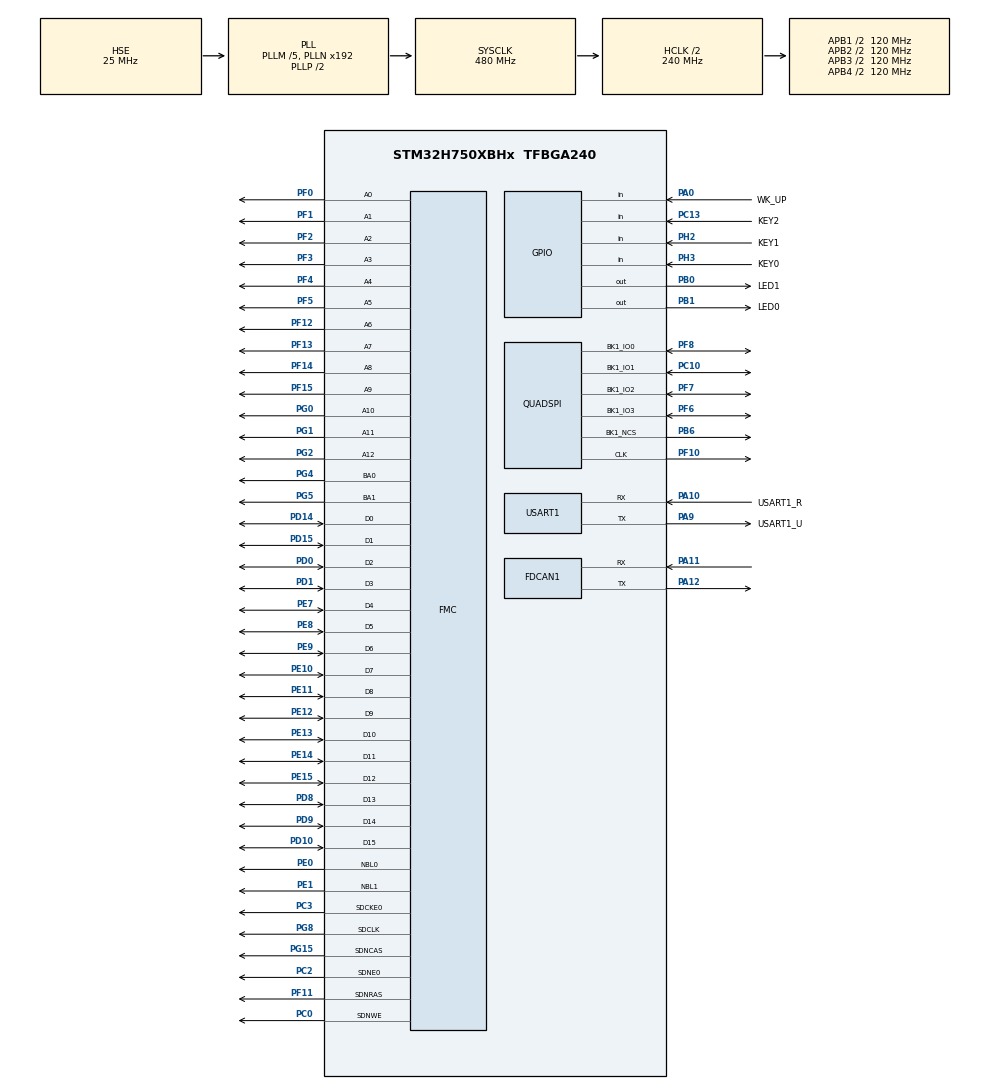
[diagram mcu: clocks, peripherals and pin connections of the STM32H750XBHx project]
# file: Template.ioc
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CORTEX_M7.CPU_DCache=Enabled
CORTEX_M7.CPU_ICache=Enabled
CORTEX_M7.default_mode_Activation=1
Dma.Request0=USART1_RX
Dma.USART1_RX.0.Direction=DMA_PERIPH_TO_MEMORY
Dma.USART1_RX.0.EventEnable=DISABLE
Dma.USART1_RX.0.FIFOMode=DMA_FIFOMODE_DISABLE
Dma.USART1_RX.0.Instance=DMA1_Stream0
Dma.USART1_RX.0.MemDataAlignment=DMA_MDATAALIGN_BYTE
Dma.USART1_RX.0.MemInc=DMA_MINC_ENABLE
Dma.USART1_RX.0.Mode=DMA_NORMAL
Dma.USART1_RX.0.PeriphDataAlignment=DMA_PDATAALIGN_BYTE
Dma.USART1_RX.0.PeriphInc=DMA_PINC_DISABLE
Dma.USART1_RX.0.Polarity=HAL_DMAMUX_REQ_GEN_RISING
Dma.USART1_RX.0.Priority=DMA_PRIORITY_LOW
Dma.USART1_RX.0.RequestNumber=1
Dma.USART1_RX.0.SignalID=NONE
Dma.USART1_RX.0.SyncEnable=DISABLE
Dma.USART1_RX.0.SyncPolarity=HAL_DMAMUX_SYNC_NO_EVENT
Dma.USART1_RX.0.SyncRequestNumber=1
Dma.USART1_RX.0.SyncSignalID=NONE
FDCAN1.AutoRetransmission=ENABLE
FDCAN1.CalculateBaudRateNominal=500000
FDCAN1.CalculateTimeBitNominal=2000
FDCAN1.CalculateTimeQuantumNominal=40.0
FDCAN1.DataPrescaler=1
FDCAN1.DataSyncJumpWidth=16
FDCAN1.DataTimeSeg1=31
FDCAN1.DataTimeSeg2=3
FDCAN1.ExtFiltersNbr=16
FDCAN1.NominalPrescaler=1
FDCAN1.NominalTimeSeg1=31
FDCAN1.NominalTimeSeg2=18
FDCAN1.RxBuffersNbr=8
FDCAN1.RxFifo0ElmtsNbr=32
FDCAN1.RxFifo1ElmtsNbr=32
FDCAN1.StdFiltersNbr=62
FDCAN1.TxFifoQueueElmtsNbr=32
FMC.CASLatency1=FMC_SDRAM_CAS_LATENCY_2
FMC.ColumnBitsNumber1=FMC_SDRAM_COLUMN_BITS_NUM_9
FMC.ExitSelfRefreshDelay1=9
FMC.LoadToActiveDelay1=2
FMC.RCDDelay1=2
FMC.RPDelay1=2
FMC.RPDelay2=2
FMC.ReadBurst1=FMC_SDRAM_RBURST_ENABLE
FMC.ReadBurst2=FMC_SDRAM_RBURST_ENABLE
FMC.ReadPipeDelay1=FMC_SDRAM_RPIPE_DELAY_0
FMC.RowCycleDelay1=8
FMC.RowCycleDelay2=8
FMC.SDClockPeriod1=FMC_SDRAM_CLOCK_PERIOD_2
FMC.SDClockPeriod2=FMC_SDRAM_CLOCK_PERIOD_2
FMC.SelfRefreshTime1=6
FMC.WriteRecoveryTime1=5
Mcu.Family=STM32H7
Mcu.Name=STM32H750XBHx
Mcu.Package=TFBGA240
NVIC.DMA1_Stream0_IRQn=true\:5\:0\:true\:false\:true\:false\:true\:true
NVIC.FDCAN1_IT0_IRQn=true\:5\:0\:true\:false\:true\:true\:true\:true
NVIC.FDCAN1_IT1_IRQn=true\:5\:0\:true\:false\:true\:true\:true\:true
NVIC.FDCAN_CAL_IRQn=true\:5\:0\:true\:false\:true\:true\:true\:true
NVIC.PriorityGroup=NVIC_PRIORITYGROUP_4
NVIC.TIM6_DAC_IRQn=true\:15\:0\:false\:false\:true\:false\:true\:true
NVIC.TimeBase=TIM6_DAC_IRQn
NVIC.TimeBaseIP=TIM6
NVIC.USART1_IRQn=true\:5\:0\:true\:false\:true\:true\:true\:true
PA0.GPIO_Label=WK_UP
PA0.GPIO_PuPd=GPIO_PULLDOWN
PA0.Signal=GPIO_Input
PA10.GPIO_Label=USART1_R
PA10.GPIO_PuPd=GPIO_PULLUP
PA10.Mode=Asynchronous
PA10.Signal=USART1_RX
PA11.GPIO_PuPd=GPIO_PULLUP
PA11.GPIO_Speed=GPIO_SPEED_FREQ_VERY_HIGH
PA11.Mode=FDCAN_Activate
PA11.Signal=FDCAN1_RX
PA12.GPIO_PuPd=GPIO_PULLUP
PA12.GPIO_Speed=GPIO_SPEED_FREQ_VERY_HIGH
PA12.Mode=FDCAN_Activate
PA12.Signal=FDCAN1_TX
PA13\ (JTMS/SWDIO).Mode=Serial_Wire
PA13\ (JTMS/SWDIO).Signal=DEBUG_JTMS-SWDIO
PA14\ (JTCK/SWCLK).Mode=Serial_Wire
PA14\ (JTCK/SWCLK).Signal=DEBUG_JTCK-SWCLK
PA9.GPIO_Label=USART1_U
PA9.Mode=Asynchronous
PA9.Signal=USART1_TX
PB0.GPIO_Label=LED1
PB0.GPIO_PuPd=GPIO_PULLUP
PB0.PinState=GPIO_PIN_SET
PB0.Signal=GPIO_Output
PB1.GPIO_Label=LED0
PB1.GPIO_PuPd=GPIO_PULLUP
PB1.PinState=GPIO_PIN_SET
PB1.Signal=GPIO_Output
PB6.Mode=Single Bank 1
PB6.Signal=QUADSPI_BK1_NCS
PC0.GPIO_PuPd=GPIO_PULLUP
PC0.Signal=FMC_SDNWE
PC10.Mode=Single Bank 1
PC10.Signal=QUADSPI_BK1_IO1
PC13.GPIO_Label=KEY2
PC13.GPIO_PuPd=GPIO_PULLUP
PC13.Signal=GPIO_Input
PC2.GPIO_PuPd=GPIO_PULLUP
PC2.Mode=SdramChipSelect1_1
PC2.Signal=FMC_SDNE0
PC3.GPIO_PuPd=GPIO_PULLUP
PC3.Mode=SdramChipSelect1_1
PC3.Signal=FMC_SDCKE0
PD0.GPIO_PuPd=GPIO_PULLUP
PD0.Signal=FMC_D2_DA2
PD1.GPIO_PuPd=GPIO_PULLUP
PD1.Signal=FMC_D3_DA3
PD10.GPIO_PuPd=GPIO_PULLUP
PD10.Signal=FMC_D15_DA15
PD14.GPIO_PuPd=GPIO_PULLUP
PD14.Signal=FMC_D0_DA0
PD15.GPIO_PuPd=GPIO_PULLUP
PD15.Signal=FMC_D1_DA1
PD8.GPIO_PuPd=GPIO_PULLUP
PD8.Signal=FMC_D13_DA13
PD9.GPIO_PuPd=GPIO_PULLUP
PD9.Signal=FMC_D14_DA14
PE0.GPIO_PuPd=GPIO_PULLUP
PE0.Signal=FMC_NBL0
PE1.GPIO_PuPd=GPIO_PULLUP
PE1.Signal=FMC_NBL1
PE10.GPIO_PuPd=GPIO_PULLUP
PE10.Signal=FMC_D7_DA7
PE11.GPIO_PuPd=GPIO_PULLUP
PE11.Signal=FMC_D8_DA8
PE12.GPIO_PuPd=GPIO_PULLUP
PE12.Signal=FMC_D9_DA9
PE13.GPIO_PuPd=GPIO_PULLUP
PE13.Signal=FMC_D10_DA10
PE14.GPIO_PuPd=GPIO_PULLUP
PE14.Signal=FMC_D11_DA11
PE15.GPIO_PuPd=GPIO_PULLUP
PE15.Signal=FMC_D12_DA12
PE7.GPIO_PuPd=GPIO_PULLUP
PE7.Signal=FMC_D4_DA4
PE8.GPIO_PuPd=GPIO_PULLUP
PE8.Signal=FMC_D5_DA5
PE9.GPIO_PuPd=GPIO_PULLUP
PE9.Signal=FMC_D6_DA6
PF0.GPIO_PuPd=GPIO_PULLUP
PF0.Signal=FMC_A0
PF1.GPIO_PuPd=GPIO_PULLUP
PF1.Signal=FMC_A1
PF10.Mode=Single Bank 1
PF10.Signal=QUADSPI_CLK
PF11.GPIO_PuPd=GPIO_PULLUP
PF11.Signal=FMC_SDNRAS
PF12.GPIO_PuPd=GPIO_PULLUP
PF12.Signal=FMC_A6
PF13.GPIO_PuPd=GPIO_PULLUP
PF13.Signal=FMC_A7
PF14.GPIO_PuPd=GPIO_PULLUP
PF14.Signal=FMC_A8
PF15.GPIO_PuPd=GPIO_PULLUP
PF15.Signal=FMC_A9
PF2.GPIO_PuPd=GPIO_PULLUP
PF2.Signal=FMC_A2
PF3.GPIO_PuPd=GPIO_PULLUP
PF3.Signal=FMC_A3
PF4.GPIO_PuPd=GPIO_PULLUP
PF4.Signal=FMC_A4
PF5.GPIO_PuPd=GPIO_PULLUP
PF5.Signal=FMC_A5
PF6.Mode=Single Bank 1
PF6.Signal=QUADSPI_BK1_IO3
PF7.Mode=Single Bank 1
PF7.Signal=QUADSPI_BK1_IO2
PF8.Mode=Single Bank 1
PF8.Signal=QUADSPI_BK1_IO0
PG0.GPIO_PuPd=GPIO_PULLUP
PG0.Signal=FMC_A10
PG1.GPIO_PuPd=GPIO_PULLUP
PG1.Signal=FMC_A11
PG15.GPIO_PuPd=GPIO_PULLUP
PG15.Signal=FMC_SDNCAS
PG2.GPIO_PuPd=GPIO_PULLUP
PG2.Signal=FMC_A12
PG4.GPIO_PuPd=GPIO_PULLUP
PG4.Signal=FMC_A14_BA0
PG5.GPIO_PuPd=GPIO_PULLUP
PG5.Signal=FMC_A15_BA1
PG8.GPIO_PuPd=GPIO_PULLUP
PG8.Signal=FMC_SDCLK
PH0-OSC_IN\ (PH0).Mode=HSE-External-Oscillator
PH0-OSC_IN\ (PH0).Signal=RCC_OSC_IN
PH1-OSC_OUT\ (PH1).Mode=HSE-External-Oscillator
PH1-OSC_OUT\ (PH1).Signal=RCC_OSC_OUT
PH2.GPIO_Label=KEY1
PH2.GPIO_PuPd=GPIO_PULLUP
PH2.Signal=GPIO_Input
PH3.GPIO_Label=KEY0
PH3.GPIO_PuPd=GPIO_PULLUP
PH3.Signal=GPIO_Input
ProjectManager.HeapSize=0x200
ProjectManager.StackSize=0x400
ProjectManager.TargetToolchain=MDK-ARM V5.32
QUADSPI.ChipSelectHighTime=QSPI_CS_HIGH_TIME_2_CYCLE
QUADSPI.ClockPrescaler=1
QUADSPI.FifoThreshold=32
QUADSPI.SampleShifting=QSPI_SAMPLE_SHIFTING_HALFCYCLE
RCC.ADCFreq_Value=50390625
RCC.APB1Freq_Value=120000000
RCC.APB2Freq_Value=120000000
RCC.APB3Freq_Value=120000000
RCC.APB4Freq_Value=120000000
RCC.CortexFreq_Value=480000000
RCC.D1PPRE=RCC_APB3_DIV2
RCC.D2PPRE1=RCC_APB1_DIV2
RCC.D2PPRE2=RCC_APB2_DIV2
RCC.D3PPRE=RCC_APB4_DIV2
RCC.DIVM1=5
RCC.DIVN1=192
RCC.DIVQ1=8
RCC.FDCANCLockSelection=RCC_FDCANCLKSOURCE_HSE
RCC.HCLKFreq_Value=240000000
RCC.HPRE=RCC_HCLK_DIV2
RCC.PLL2FRACN=0
RCC.PLL3FRACN=0
RCC.PLLFRACN=0
RCC.PLLSourceVirtual=RCC_PLLSOURCE_HSE
RCC.PWR_Regulator_Voltage_Scale=PWR_REGULATOR_VOLTAGE_SCALE0
RCC.SYSCLKFreq_VALUE=480000000
RCC.SYSCLKSource=RCC_SYSCLKSOURCE_PLLCLK
RCC.USBFreq_Value=120000000
SH.FMC_A0.0=FMC_A0,13b-sda1
SH.FMC_A1.0=FMC_A1,13b-sda1
SH.FMC_A10.0=FMC_A10,13b-sda1
SH.FMC_A11.0=FMC_A11,13b-sda1
SH.FMC_A12.0=FMC_A12,13b-sda1
SH.FMC_A14_BA0.0=FMC_BA0,FourSdramBanks1
SH.FMC_A15_BA1.0=FMC_BA1,FourSdramBanks1
SH.FMC_A2.0=FMC_A2,13b-sda1
SH.FMC_A3.0=FMC_A3,13b-sda1
SH.FMC_A4.0=FMC_A4,13b-sda1
SH.FMC_A5.0=FMC_A5,13b-sda1
SH.FMC_A6.0=FMC_A6,13b-sda1
SH.FMC_A7.0=FMC_A7,13b-sda1
SH.FMC_A8.0=FMC_A8,13b-sda1
SH.FMC_A9.0=FMC_A9,13b-sda1
SH.FMC_D0_DA0.0=FMC_D0,sd-16b-d1
SH.FMC_D10_DA10.0=FMC_D10,sd-16b-d1
SH.FMC_D11_DA11.0=FMC_D11,sd-16b-d1
SH.FMC_D12_DA12.0=FMC_D12,sd-16b-d1
SH.FMC_D13_DA13.0=FMC_D13,sd-16b-d1
SH.FMC_D14_DA14.0=FMC_D14,sd-16b-d1
SH.FMC_D15_DA15.0=FMC_D15,sd-16b-d1
SH.FMC_D1_DA1.0=FMC_D1,sd-16b-d1
SH.FMC_D2_DA2.0=FMC_D2,sd-16b-d1
SH.FMC_D3_DA3.0=FMC_D3,sd-16b-d1
SH.FMC_D4_DA4.0=FMC_D4,sd-16b-d1
SH.FMC_D5_DA5.0=FMC_D5,sd-16b-d1
SH.FMC_D6_DA6.0=FMC_D6,sd-16b-d1
SH.FMC_D7_DA7.0=FMC_D7,sd-16b-d1
SH.FMC_D8_DA8.0=FMC_D8,sd-16b-d1
SH.FMC_D9_DA9.0=FMC_D9,sd-16b-d1
SH.FMC_NBL0.0=FMC_NBL0,Sd2ByteEnable1
SH.FMC_NBL1.0=FMC_NBL1,Sd2ByteEnable1
SH.FMC_SDCLK.0=FMC_SDCLK,13b-sda1
SH.FMC_SDNCAS.0=FMC_SDNCAS,13b-sda1
SH.FMC_SDNRAS.0=FMC_SDNRAS,13b-sda1
SH.FMC_SDNWE.0=FMC_SDNWE,13b-sda1
TIM2.Period=1000000000-1
TIM2.Prescaler=240-1
USART1.VirtualMode-Asynchronous=VM_ASYNC
VP_MEMORYMAP_VS_MEMORYMAP.Mode=CurAppReg
VP_SYS_VS_tim6.Mode=TIM6
VP_TIM2_VS_ClockSourceINT.Mode=Internal
board=custom

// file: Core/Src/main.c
/* USER CODE BEGIN Header */
/**
  ******************************************************************************
  * @file           : main.c
  * @brief          : Main program body
  ******************************************************************************
  * @attention
  *
  * Copyright (c) 2026 STMicroelectronics.
  * All rights reserved.
  *
  * This software is licensed under terms that can be found in the LICENSE file
  * in the root directory of this software component.
  * If no LICENSE file comes with this software, it is provided AS-IS.
  *
  ******************************************************************************
  */
/* USER CODE END Header */
#include "main.h"
#include "dma.h"
#include "fdcan.h"
#include "quadspi.h"
#include "tim.h"
#include "usart.h"
#include "gpio.h"
#include "fmc.h"

void SystemClock_Config(void);
static void MPU_Config(void);
/* USER CODE BEGIN PFP */
typedef struct {
    uint32_t size;
    uint32_t sum;
    char fileName[128];
} FirmwareInfo_Def;

const FirmwareInfo_Def *firmwareInfo = 0;
/* USER CODE END PFP */

/* USER CODE BEGIN 0 */
/**
 * @brief   测试SDRAM容量
 * @param   x: LCD上显示提示信息的起始X坐标
 * @param   y: LCD上显示提示信息的起始Y坐标
 * @retval  无
 */
/* SDRAM块地址定义 */
#define SDRAM_BANK_ADDR (0xC0000000UL)
void sdram_test(void)
{
    uint32_t i;
    uint32_t temp = 0;
    uint32_t sval = 0;
    /* 每间隔16KB写入1字数据 */
    for (i=0; i<(32*1024*1024); i+=(16*1024))
    {
        *(volatile uint32_t *)(SDRAM_BANK_ADDR + i) = temp++;
    }

    /* 每间隔16KB读取1字数据进行校验 */
    for (i=0; i<(32*1024*1024); i+=(16*1024))
    {
        temp = *(volatile uint32_t *)(SDRAM_BANK_ADDR + i);

        if ((temp != 0) && (temp <= sval))
        {
            break;
        }
        else
        {
            sval = temp;
        }
        printf("SDRAM Capacity: %dKB\r\n", (temp + 1) * 16);
    }
}

#define TEST_SIZE  (1024 * 1024 * 4) // 测试 4MB 数据
uint32_t test_buf[1024]; // 临时缓冲区（可选，也可直接用指针操作）

void sdram_speed_test(void)
{
    uint32_t i;
    uint32_t start_time, end_time;
    float duration;
    float speed;

    printf("\r\n--- SDRAM Speed Test Start ---\r\n");

    // --- 1. 写入速度测试 ---
    start_time = HAL_GetTick(); // 获取当前毫秒数
    for (i = 0; i < (TEST_SIZE / 4); i++)
    {
        *(volatile uint32_t *)(SDRAM_BANK_ADDR + i * 4) = i;
    }
    end_time = HAL_GetTick();

    duration = (float)(end_time - start_time) / 1000.0f; // 秒
    if(duration > 0) {
        speed = (float)TEST_SIZE / (1024.0f * 1024.0f) / duration;
        printf("Write Speed: %.2f MB/s (Time: %.3f s)\r\n", speed, duration);
    }

    // --- 2. 读取速度测试 ---
    uint32_t temp;
    start_time = HAL_GetTick();
    for (i = 0; i < (TEST_SIZE / 4); i++)
    {
        temp = *(volatile uint32_t *)(SDRAM_BANK_ADDR + i * 4);
    }
    end_time = HAL_GetTick();

    // 简单使用一下 temp 防止编译器把循环优化掉
    (void)temp;

    duration = (float)(end_time - start_time) / 1000.0f;
    if(duration > 0) {
        speed = (float)TEST_SIZE / (1024.0f * 1024.0f) / duration;
        printf("Read Speed: %.2f MB/s (Time: %.3f s)\r\n", speed, duration);
    }
}

uint32_t Get_System_Time(uint8_t State)
{
  uint32_t GetTick=0;

	if(State==1)
	{
		TIM2->CNT = 0;
		HAL_TIM_Base_Start(&htim2);
	}

	else if(State==2)
	{
		HAL_TIM_Base_Stop(&htim2);
		GetTick = TIM2->CNT;
		return GetTick;
	}
  return 0;
}

void SDRAM_WriteSpeed_Optimized(void)
{
    uint32_t i, elapsed;
    // 使用 32 位指针提高单次总线利用率
    volatile uint32_t *pBuf = (uint32_t *)SDRAM_BANK_ADDR;
    uint32_t totalWords = (32 * 1024 * 1024) / 4; // 32MB 对应 8M 个 32-bit 字

    Get_System_Time(1);

    // 8路循环展开，配合编译器优化
    for (i = 0; i < totalWords; i += 8)
    {
        pBuf[i+0] = 0xAAAAAAAA;
        pBuf[i+1] = 0xBBBBBBBB;
        pBuf[i+2] = 0xCCCCCCCC;
        pBuf[i+3] = 0xDDDDDDDD;
        pBuf[i+4] = 0xEEEEEEEE;
        pBuf[i+5] = 0xFFFFFFFF;
        pBuf[i+6] = 0x11111111;
        pBuf[i+7] = 0x22222222;
    }

    elapsed = Get_System_Time(2);
    printf("Write Rate: %d MB/s\r\n", 32 * 1000000 / elapsed);
}

/* USER CODE END 0 */

int main(void)
{

  /* USER CODE BEGIN 1 */
   __disable_irq();
   SCB->VTOR = 0x90002000;
    SCB_DisableDCache();
    SCB_DisableICache();
    SCB_InvalidateICache();
    SCB_InvalidateDCache();
    __enable_irq();
    firmwareInfo = (FirmwareInfo_Def *)(0x90000000 + 0x400000ul);
    mpu_memory_protection();
  /* USER CODE END 1 */
  /* Enable I-Cache---------------------------------------------------------*/
  SCB_EnableICache();

  /* Enable D-Cache---------------------------------------------------------*/
  SCB_EnableDCache();

  /* MPU Configuration--------------------------------------------------------*/
  //MPU_Config();

  /* MCU Configuration--------------------------------------------------------*/

  /* Reset of all peripherals, Initializes the Flash interface and the Systick. */
  HAL_Init();

  /* Configure the system clock */
  SystemClock_Config();

  /* Initialize all configured peripherals */
  MX_GPIO_Init();
  MX_DMA_Init();
  MX_USART1_UART_Init();
  //MX_QUADSPI_Init();
  MX_FDCAN1_Init();
  MX_FMC_Init();
  MX_TIM2_Init();
  /* USER CODE BEGIN 2 */
   led_init();
    LED0(0);
   printf("test start \r\n");
   printf("test start  -->CAN\r\n");
   //printf SCPI-message
   SCPI_Config_Init();

    FDCAN_FilterTypeDef sFilterConfig;
    sFilterConfig.IdType = FDCAN_STANDARD_ID;      /* ������׼֡ */
    sFilterConfig.FilterIndex = 0;                 /* ʹ�� 0 �Ź����� */
    sFilterConfig.FilterType = FDCAN_FILTER_MASK;  /* ����ģʽ����õ�ģʽ */
    sFilterConfig.FilterConfig = FDCAN_FILTER_TO_RXFIFO0; /* �յ������ FIFO 0 */
    sFilterConfig.FilterID1 = 0x000;               /* ���� ID1 */
    sFilterConfig.FilterID2 = 0x000;               /* ���룺��Ϊ 0 ����������б�׼֡ */

    HAL_FDCAN_ConfigFilter(&hfdcan1, &sFilterConfig);
    HAL_FDCAN_ActivateNotification(&hfdcan1, FDCAN_IT_RX_FIFO0_NEW_MESSAGE, 0);

  /* USER CODE END 2 */

  /* Infinite loop */
  while (1)
  {

    /* USER CODE BEGIN 3 */
      uint8_t key = key_scan(0);
        if (key == KEY0_PRES)
        {
            /* 测试SDRAM容量 */
            sdram_test();
        }
        if (key == KEY1_PRES)
        {
            SDRAM_WriteSpeed_Optimized();
        }
        if (key == KEY2_PRES)
        {

            sdram_speed_test();
        }

        LED0(1);
        HAL_Delay(100);
        LED0(0);
        HAL_Delay(100);
  }
  /* USER CODE END 3 */
}

void SystemClock_Config(void)
{
  RCC_OscInitTypeDef RCC_OscInitStruct = {0};
  RCC_ClkInitTypeDef RCC_ClkInitStruct = {0};

  /** Supply configuration update enable
  */
  HAL_PWREx_ConfigSupply(PWR_LDO_SUPPLY);

  /** Configure the main internal regulator output voltage
  */
  __HAL_PWR_VOLTAGESCALING_CONFIG(PWR_REGULATOR_VOLTAGE_SCALE0);

  while(!__HAL_PWR_GET_FLAG(PWR_FLAG_VOSRDY)) {}

  /** Initializes the RCC Oscillators according to the specified parameters
  * in the RCC_OscInitTypeDef structure.
  */
  RCC_OscInitStruct.OscillatorType = RCC_OSCILLATORTYPE_HSE;
  RCC_OscInitStruct.HSEState = RCC_HSE_ON;
  RCC_OscInitStruct.PLL.PLLState = RCC_PLL_ON;
  RCC_OscInitStruct.PLL.PLLSource = RCC_PLLSOURCE_HSE;
  RCC_OscInitStruct.PLL.PLLM = 5;
  RCC_OscInitStruct.PLL.PLLN = 192;
  RCC_OscInitStruct.PLL.PLLP = 2;
  RCC_OscInitStruct.PLL.PLLQ = 8;
  RCC_OscInitStruct.PLL.PLLR = 2;
  RCC_OscInitStruct.PLL.PLLRGE = RCC_PLL1VCIRANGE_2;
  RCC_OscInitStruct.PLL.PLLVCOSEL = RCC_PLL1VCOWIDE;
  RCC_OscInitStruct.PLL.PLLFRACN = 0;
  if (HAL_RCC_OscConfig(&RCC_OscInitStruct) != HAL_OK)
  {
    Error_Handler();
  }

  /** Initializes the CPU, AHB and APB buses clocks
  */
  RCC_ClkInitStruct.ClockType = RCC_CLOCKTYPE_HCLK|RCC_CLOCKTYPE_SYSCLK
                              |RCC_CLOCKTYPE_PCLK1|RCC_CLOCKTYPE_PCLK2
                              |RCC_CLOCKTYPE_D3PCLK1|RCC_CLOCKTYPE_D1PCLK1;
  RCC_ClkInitStruct.SYSCLKSource = RCC_SYSCLKSOURCE_PLLCLK;
  RCC_ClkInitStruct.SYSCLKDivider = RCC_SYSCLK_DIV1;
  RCC_ClkInitStruct.AHBCLKDivider = RCC_HCLK_DIV2;
  RCC_ClkInitStruct.APB3CLKDivider = RCC_APB3_DIV2;
  RCC_ClkInitStruct.APB1CLKDivider = RCC_APB1_DIV2;
  RCC_ClkInitStruct.APB2CLKDivider = RCC_APB2_DIV2;
  RCC_ClkInitStruct.APB4CLKDivider = RCC_APB4_DIV2;

  if (HAL_RCC_ClockConfig(&RCC_ClkInitStruct, FLASH_LATENCY_4) != HAL_OK)
  {
    Error_Handler();
  }
}

 /* MPU Configuration */

void MPU_Config(void)
{
  MPU_Region_InitTypeDef MPU_InitStruct = {0};

  /* Disables the MPU */
  HAL_MPU_Disable();

  /** Initializes and configures the Region and the memory to be protected
  */
  MPU_InitStruct.Enable = MPU_REGION_ENABLE;
  MPU_InitStruct.Number = MPU_REGION_NUMBER0;
  MPU_InitStruct.BaseAddress = 0x0;
  MPU_InitStruct.Size = MPU_REGION_SIZE_4GB;
  MPU_InitStruct.SubRegionDisable = 0x87;
  MPU_InitStruct.TypeExtField = MPU_TEX_LEVEL0;
  MPU_InitStruct.AccessPermission = MPU_REGION_NO_ACCESS;
  MPU_InitStruct.DisableExec = MPU_INSTRUCTION_ACCESS_DISABLE;
  MPU_InitStruct.IsShareable = MPU_ACCESS_SHAREABLE;
  MPU_InitStruct.IsCacheable = MPU_ACCESS_NOT_CACHEABLE;
  MPU_InitStruct.IsBufferable = MPU_ACCESS_NOT_BUFFERABLE;

  HAL_MPU_ConfigRegion(&MPU_InitStruct);
  /* Enables the MPU */
  HAL_MPU_Enable(MPU_PRIVILEGED_DEFAULT);

}

void HAL_TIM_PeriodElapsedCallback(TIM_HandleTypeDef *htim)
{
  if (htim->Instance == TIM6)
  {
    HAL_IncTick();
  }
}

void Error_Handler(void)
{
  __disable_irq();
  while (1)
  {
  }
}
